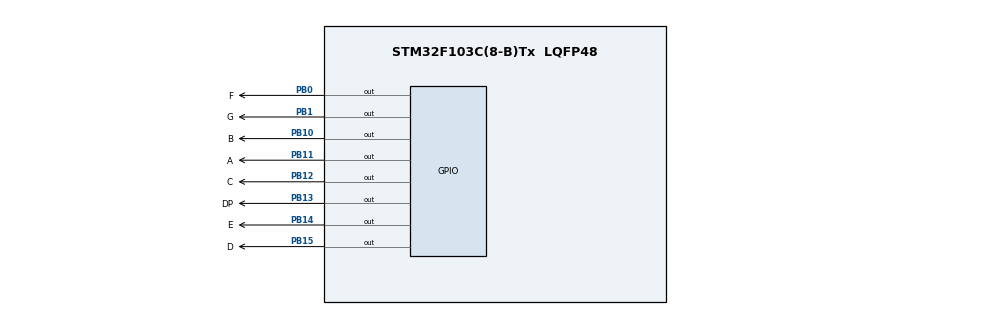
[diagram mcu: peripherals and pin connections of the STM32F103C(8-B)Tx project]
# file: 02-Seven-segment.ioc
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Mcu.Family=STM32F1
Mcu.Name=STM32F103C(8-B)Tx
Mcu.Package=LQFP48
NVIC.PriorityGroup=NVIC_PRIORITYGROUP_4
PA13.Mode=Serial_Wire
PA13.Signal=SYS_JTMS-SWDIO
PA14.Mode=Serial_Wire
PA14.Signal=SYS_JTCK-SWCLK
PB0.GPIO_Label=F
PB0.Signal=GPIO_Output
PB1.GPIO_Label=G
PB1.Signal=GPIO_Output
PB10.GPIO_Label=B
PB10.Signal=GPIO_Output
PB11.GPIO_Label=A
PB11.Signal=GPIO_Output
PB12.GPIO_Label=C
PB12.Signal=GPIO_Output
PB13.GPIO_Label=DP
PB13.Signal=GPIO_Output
PB14.GPIO_Label=E
PB14.Signal=GPIO_Output
PB15.GPIO_Label=D
PB15.Signal=GPIO_Output
ProjectManager.HeapSize=0x200
ProjectManager.StackSize=0x400
ProjectManager.TargetToolchain=Makefile
RCC.APB1Freq_Value=8000000
RCC.APB2Freq_Value=8000000
board=custom

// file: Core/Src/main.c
/* USER CODE BEGIN Header */
/**
  ******************************************************************************
  * @file           : main.c
  * @brief          : Main program body
  ******************************************************************************
  * @attention
  *
  * Copyright (c) 2026 STMicroelectronics.
  * All rights reserved.
  *
  * This software is licensed under terms that can be found in the LICENSE file
  * in the root directory of this software component.
  * If no LICENSE file comes with this software, it is provided AS-IS.
  *
  ******************************************************************************
  */
/* USER CODE END Header */
#include "main.h"

/* USER CODE BEGIN Includes */
#include <assert.h>

/* USER CODE END Includes */

/* USER CODE BEGIN PD */
typedef uint32_t Pins[8];

/* USER CODE END PD */

/* USER CODE BEGIN PV */
//                     dp g f e d c b a
static uint32_t Numbers[10] = {
	/*0*/	0b00111111,
	/*1*/	0b00000110,
	/*2*/	0b01011011,
	/*3*/	0b01001111,
	/*4*/	0b01100110,
	/*5*/	0b01101101,
	/*6*/	0b11111101,
	/*7*/	0b00000111,
	/*8*/	0b01111111,
	/*9*/	0b11101111,
};

/* USER CODE END PV */

void SystemClock_Config(void);
static void MX_GPIO_Init(void);

/* USER CODE BEGIN 0 */
uint32_t GetPinsForNumber( Pins Pins, uint32_t Number) {
	assert(Number < 10);
	uint32_t NumberMask = Numbers[Number];
	uint32_t PinMask = 0;
	for (int i = 0; i < 8; i++) {
		if ((NumberMask >> i) & 1) {
			PinMask |= Pins[i];
		}
	}
	return PinMask;
}

/* USER CODE END 0 */

int main(void)
{

  /* MCU Configuration--------------------------------------------------------*/

  /* Reset of all peripherals, Initializes the Flash interface and the Systick. */
  HAL_Init();

  /* USER CODE BEGIN Init */
  Pins DisplayPins = {
	  A_Pin,
	  B_Pin,
	  C_Pin,
	  D_Pin,
	  E_Pin,
	  F_Pin,
	  G_Pin,
	  DP_Pin

  };

  /* USER CODE END Init */

  /* Configure the system clock */
  SystemClock_Config();

  /* Initialize all configured peripherals */
  MX_GPIO_Init();

  /* Infinite loop */
  /* USER CODE BEGIN WHILE */
  while (1)
  {
	  for (uint32_t i = 0; i < 10; i++) {
		  uint32_t Number = GetPinsForNumber(DisplayPins, i);
		  HAL_GPIO_WritePin(GPIOB, Number, GPIO_PIN_SET);
		  HAL_Delay(500);
		  HAL_GPIO_WritePin(GPIOB, Number, GPIO_PIN_RESET);
		  HAL_Delay(500);
	  }

    /* USER CODE END WHILE */

  }
}

void SystemClock_Config(void)
{
  RCC_OscInitTypeDef RCC_OscInitStruct = {0};
  RCC_ClkInitTypeDef RCC_ClkInitStruct = {0};

  /** Initializes the RCC Oscillators according to the specified parameters
  * in the RCC_OscInitTypeDef structure.
  */
  RCC_OscInitStruct.OscillatorType = RCC_OSCILLATORTYPE_HSI;
  RCC_OscInitStruct.HSIState = RCC_HSI_ON;
  RCC_OscInitStruct.HSICalibrationValue = RCC_HSICALIBRATION_DEFAULT;
  RCC_OscInitStruct.PLL.PLLState = RCC_PLL_NONE;
  if (HAL_RCC_OscConfig(&RCC_OscInitStruct) != HAL_OK)
  {
    Error_Handler();
  }

  /** Initializes the CPU, AHB and APB buses clocks
  */
  RCC_ClkInitStruct.ClockType = RCC_CLOCKTYPE_HCLK|RCC_CLOCKTYPE_SYSCLK
                              |RCC_CLOCKTYPE_PCLK1|RCC_CLOCKTYPE_PCLK2;
  RCC_ClkInitStruct.SYSCLKSource = RCC_SYSCLKSOURCE_HSI;
  RCC_ClkInitStruct.AHBCLKDivider = RCC_SYSCLK_DIV1;
  RCC_ClkInitStruct.APB1CLKDivider = RCC_HCLK_DIV1;
  RCC_ClkInitStruct.APB2CLKDivider = RCC_HCLK_DIV1;

  if (HAL_RCC_ClockConfig(&RCC_ClkInitStruct, FLASH_LATENCY_0) != HAL_OK)
  {
    Error_Handler();
  }
}

static void MX_GPIO_Init(void)
{
  GPIO_InitTypeDef GPIO_InitStruct = {0};

  /* GPIO Ports Clock Enable */
  __HAL_RCC_GPIOB_CLK_ENABLE();
  __HAL_RCC_GPIOA_CLK_ENABLE();

  /*Configure GPIO pin Output Level */
  HAL_GPIO_WritePin(GPIOB, F_Pin|G_Pin|B_Pin|A_Pin
                          |C_Pin|DP_Pin|E_Pin|D_Pin, GPIO_PIN_RESET);

  /*Configure GPIO pins : F_Pin G_Pin B_Pin A_Pin
                           C_Pin DP_Pin E_Pin D_Pin */
  GPIO_InitStruct.Pin = F_Pin|G_Pin|B_Pin|A_Pin
                          |C_Pin|DP_Pin|E_Pin|D_Pin;
  GPIO_InitStruct.Mode = GPIO_MODE_OUTPUT_PP;
  GPIO_InitStruct.Pull = GPIO_NOPULL;
  GPIO_InitStruct.Speed = GPIO_SPEED_FREQ_LOW;
  HAL_GPIO_Init(GPIOB, &GPIO_InitStruct);

}

void Error_Handler(void)
{
  __disable_irq();
  while (1)
  {
  }
}
